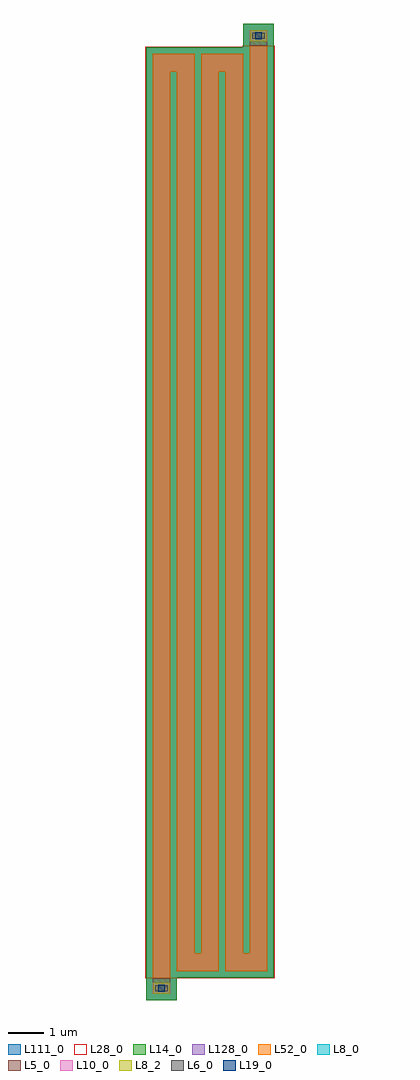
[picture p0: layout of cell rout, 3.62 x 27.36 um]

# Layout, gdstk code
import gdstk
lib = gdstk.Library(unit=1e-6, precision=1e-09)
def R(c, l, rs):  # rectangles x0, y0, x1, y1
    for r in rs: c.add(gdstk.rectangle(r[:2], r[2:], *l))
def A(c, l, x, y, w, h, nx, ny, dx, dy):  # array of equal rectangles
    R(c, l, [(x+i*dx, y+j*dy, x+i*dx+w, y+j*dy+h) for i in range(nx) for j in range(ny)])
L5_0 = (5, 0)
L6_0 = (6, 0)
L8_0 = (8, 0)
L8_2 = (8, 2)
L10_0 = (10, 0)
L14_0 = (14, 0)
L19_0 = (19, 0)
L28_0 = (28, 0)
L52_0 = (52, 0)
L111_0 = (111, 0)
L128_0 = (128, 0)

rppd = lib.new_cell('rppd')
R(rppd, L5_0, [(0,-0.43,0.5,-0.2), (0,-0.2,0.5,0), (2.72,26.14,3.22,26.34), (2.72,26.34,3.22,26.57)])
R(rppd, L6_0, [(0.07,-0.36,0.43,-0.2), (2.79,26.34,3.15,26.5)])
R(rppd, L8_0, [(0.02,-0.43,0.48,-0.13), (2.74,26.27,3.2,26.57)])
R(rppd, L8_2, [(0.02,-0.43,0.48,-0.13), (2.74,26.27,3.2,26.57)])
R(rppd, L14_0, [(-0.18,-0.61,0.68,0.02), (-0.18,0.02,3.4,26.095), (2.54,26.095,3.4,26.14), (2.54,26.14,3.4,26.75)])
R(rppd, L28_0, [(-0.2,0,3.42,26.115), (2.52,26.115,3.42,26.14)])
A(rppd, L52_0, 0.68, 0.7, 0.5, 24.715, 3, 1, 0.68, 0)
R(rppd, L52_0, [(0,0,0.5,25.415), (0.68,0.2,1.86,0.7), (2.04,0.2,3.22,0.7), (2.72,0.7,3.22,26.14), (0,25.415,1.18,25.915), (1.36,25.415,2.54,25.915)])
R(rppd, L111_0, [(-0.18,-0.61,0.68,0), (-0.2,0,3.42,26.115), (2.52,26.115,3.42,26.14), (2.54,26.14,3.4,26.75)])
A(rppd, L128_0, 0.68, 0.7, 0.5, 24.715, 3, 1, 0.68, 0)
R(rppd, L128_0, [(0,0,0.5,25.415), (0.68,0.2,1.86,0.7), (2.04,0.2,3.22,0.7), (2.72,0.7,3.22,26.14), (0,25.415,1.18,25.915), (1.36,25.415,2.54,25.915)])
rppd.add(gdstk.Label('rppd r=65863.534', (0.25,12.357), layer=63, texttype=0))
rppd.add(gdstk.Label('rppd', (0.25,12.707), layer=52, texttype=0))
rppd.add(gdstk.Label('rppd', (0.59,25.665), layer=52, texttype=0))
rppd.add(gdstk.Label('rppd', (0.93,13.057), layer=52, texttype=0))
rppd.add(gdstk.Label('rppd', (1.27,0.45), layer=52, texttype=0))
rppd.add(gdstk.Label('rppd', (1.61,13.057), layer=52, texttype=0))
rppd.add(gdstk.Label('rppd', (1.95,25.665), layer=52, texttype=0))
rppd.add(gdstk.Label('rppd', (2.29,13.057), layer=52, texttype=0))
rppd.add(gdstk.Label('rppd', (2.63,0.45), layer=52, texttype=0))
rppd.add(gdstk.Label('rppd', (2.97,13.42), layer=52, texttype=0))

rout = lib.new_cell('rout')
R(rout, L8_0, [(0.095,-0.435,0.405,-0.125), (2.815,26.265,3.125,26.575)])
R(rout, L10_0, [(0.005,-0.435,0.495,-0.125), (2.725,26.265,3.215,26.575)])
R(rout, L19_0, [(0.155,-0.375,0.345,-0.185), (2.875,26.325,3.065,26.515)])
rout.add(gdstk.Reference(rppd, (0,0)))

lib.write_gds('rout.gds')
